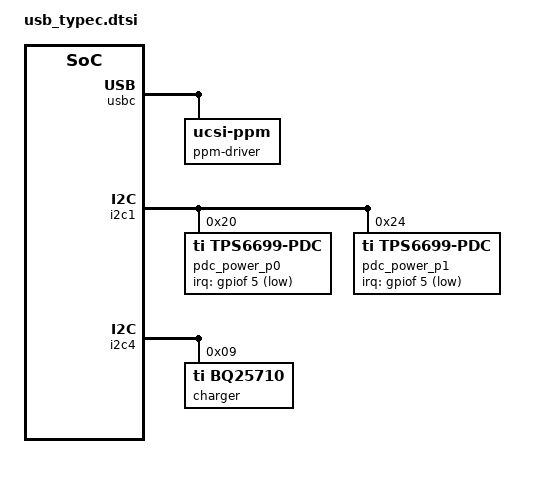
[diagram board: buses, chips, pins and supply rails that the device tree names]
/*
 * Copyright 2024 The ChromiumOS Authors
 *
 * SPDX-License-Identifier: Apache-2.0
 */

#include <usbc-policy.dtsi>

 /{
	usbc {
		#address-cells = <1>;
		#size-cells = <0>;

		usbc_port0: port0@0 {
			compatible = "named-usbc-port";
			reg = <0>;
			chg = <&charger>;
			pdc = <&pdc_power_p0>;
			pd-retimer;
			policy = <&cros_policy>;
		};
		usbc_port1: port0@1 {
			compatible = "named-usbc-port";
			reg = <1>;
			pdc = <&pdc_power_p1>;
			pd-retimer;
			policy = <&cros_policy>;
		};
		ppm-driver {
			compatible = "ucsi-ppm";
			lpm = <&pdc_power_p0 &pdc_power_p1>;
		};
	};
};

&i2c1 {
	pdc_power_p0: tps6699-pdc@20 {
		compatible = "ti,tps6699-pdc";
		reg = <0x20>;
		irq-gpios = <&gpiof 5 GPIO_ACTIVE_LOW>;
	};
	pdc_power_p1: tps6699-pdc@24 {
		compatible = "ti,tps6699-pdc";
		reg = <0x24>;
		irq-gpios = <&gpiof 5 GPIO_ACTIVE_LOW>;
		no-fw-update;
	};
};

&i2c4 {
	charger: bq25710@9 {
		compatible = "ti,bq25710";
		status = "okay";
		reg = <0x9>;
	};
};
